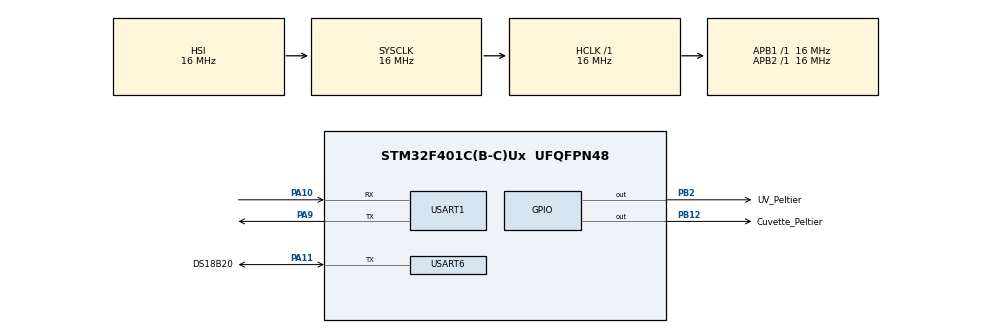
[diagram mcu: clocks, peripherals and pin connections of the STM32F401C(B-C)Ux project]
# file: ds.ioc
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Dma.Request0=USART6_RX
Dma.Request1=USART6_TX
Dma.Request2=USART1_RX
Dma.Request3=USART1_TX
Dma.USART1_RX.2.Direction=DMA_PERIPH_TO_MEMORY
Dma.USART1_RX.2.FIFOMode=DMA_FIFOMODE_DISABLE
Dma.USART1_RX.2.Instance=DMA2_Stream2
Dma.USART1_RX.2.MemDataAlignment=DMA_MDATAALIGN_BYTE
Dma.USART1_RX.2.MemInc=DMA_MINC_ENABLE
Dma.USART1_RX.2.Mode=DMA_NORMAL
Dma.USART1_RX.2.PeriphDataAlignment=DMA_PDATAALIGN_BYTE
Dma.USART1_RX.2.PeriphInc=DMA_PINC_DISABLE
Dma.USART1_RX.2.Priority=DMA_PRIORITY_LOW
Dma.USART1_TX.3.Direction=DMA_MEMORY_TO_PERIPH
Dma.USART1_TX.3.FIFOMode=DMA_FIFOMODE_DISABLE
Dma.USART1_TX.3.Instance=DMA2_Stream7
Dma.USART1_TX.3.MemDataAlignment=DMA_MDATAALIGN_BYTE
Dma.USART1_TX.3.MemInc=DMA_MINC_ENABLE
Dma.USART1_TX.3.Mode=DMA_NORMAL
Dma.USART1_TX.3.PeriphDataAlignment=DMA_PDATAALIGN_BYTE
Dma.USART1_TX.3.PeriphInc=DMA_PINC_DISABLE
Dma.USART1_TX.3.Priority=DMA_PRIORITY_LOW
Dma.USART6_RX.0.Direction=DMA_PERIPH_TO_MEMORY
Dma.USART6_RX.0.FIFOMode=DMA_FIFOMODE_DISABLE
Dma.USART6_RX.0.Instance=DMA2_Stream1
Dma.USART6_RX.0.MemDataAlignment=DMA_MDATAALIGN_BYTE
Dma.USART6_RX.0.MemInc=DMA_MINC_ENABLE
Dma.USART6_RX.0.Mode=DMA_NORMAL
Dma.USART6_RX.0.PeriphDataAlignment=DMA_PDATAALIGN_BYTE
Dma.USART6_RX.0.PeriphInc=DMA_PINC_DISABLE
Dma.USART6_RX.0.Priority=DMA_PRIORITY_LOW
Dma.USART6_TX.1.Direction=DMA_MEMORY_TO_PERIPH
Dma.USART6_TX.1.FIFOMode=DMA_FIFOMODE_DISABLE
Dma.USART6_TX.1.Instance=DMA2_Stream6
Dma.USART6_TX.1.MemDataAlignment=DMA_MDATAALIGN_BYTE
Dma.USART6_TX.1.MemInc=DMA_MINC_ENABLE
Dma.USART6_TX.1.Mode=DMA_NORMAL
Dma.USART6_TX.1.PeriphDataAlignment=DMA_PDATAALIGN_BYTE
Dma.USART6_TX.1.PeriphInc=DMA_PINC_DISABLE
Dma.USART6_TX.1.Priority=DMA_PRIORITY_LOW
Mcu.Family=STM32F4
Mcu.Name=STM32F401C(B-C)Ux
Mcu.Package=UFQFPN48
NVIC.DMA2_Stream1_IRQn=true\:0\:0\:false\:false\:true\:false\:true\:true
NVIC.DMA2_Stream2_IRQn=true\:0\:0\:false\:false\:true\:false\:true\:true
NVIC.DMA2_Stream6_IRQn=true\:0\:0\:false\:false\:true\:false\:true\:true
NVIC.DMA2_Stream7_IRQn=true\:0\:0\:false\:false\:true\:false\:true\:true
NVIC.PriorityGroup=NVIC_PRIORITYGROUP_4
NVIC.TIM2_IRQn=true\:0\:0\:false\:false\:true\:true\:true\:true
NVIC.USART1_IRQn=true\:0\:0\:false\:false\:true\:true\:true\:true
NVIC.USART6_IRQn=true\:0\:0\:false\:false\:true\:true\:true\:true
PA10.Mode=Asynchronous
PA10.Signal=USART1_RX
PA11.GPIO_Label=DS18B20
PA11.Mode=Half_duplex(single_wire_mode)
PA11.Signal=USART6_TX
PA9.Mode=Asynchronous
PA9.Signal=USART1_TX
PB12.GPIO_Label=Cuvette_Peltier
PB12.Signal=GPIO_Output
PB2.GPIO_Label=UV_Peltier
PB2.Signal=GPIO_Output
ProjectManager.HeapSize=0x200
ProjectManager.StackSize=0x400
ProjectManager.TargetToolchain=STM32CubeIDE
RCC.AHBFreq_Value=16000000
RCC.APB1Freq_Value=16000000
RCC.APB2Freq_Value=16000000
RCC.CortexFreq_Value=16000000
RCC.HSE_VALUE=25000000
RCC.HSI_VALUE=16000000
RCC.LSE_VALUE=32768
RCC.SYSCLKFreq_VALUE=16000000
RCC.VCOOutputFreq_Value=192000000
TIM2.Period=0
TIM2.Prescaler=15999
USART1.VirtualMode=VM_ASYNC
USART6.BaudRate=9600
USART6.VirtualMode=VM_ASYNC
VP_TIM2_VS_ClockSourceINT.Mode=Internal
board=custom

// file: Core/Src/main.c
/* USER CODE BEGIN Header */
/**
  ******************************************************************************
  * @file           : main.c
  * @brief          : Main program body
  ******************************************************************************
  * @attention
  *
  * Copyright (c) 2026 STMicroelectronics.
  * All rights reserved.
  *
  * This software is licensed under terms that can be found in the LICENSE file
  * in the root directory of this software component.
  * If no LICENSE file comes with this software, it is provided AS-IS.
  *
  ******************************************************************************
  */
/* USER CODE END Header */
#include "main.h"

/* USER CODE BEGIN Includes */
#include "ds18b20.h"

#include <stdio.h>
#include <string.h>
#include <stdbool.h>
#include <stdlib.h>
/* USER CODE END Includes */

/* USER CODE BEGIN PTD */

// Control Stages
typedef enum {
    STAGE_1_FAST_HEAT = 1,    // 100% power to 32°C
    STAGE_2_CONTROLLED,       // 60% power to setpoint-2
    STAGE_3_PID,              // Full PID control
    STAGE_ERROR               // Error state
} ControlStage_TypeDef;

// PID Structure
typedef struct {
    float kp;
    float ki;
    float kd;
    float dt;                 // Sample time in seconds
    float setpoint;
    float integral;
    float prev_error;
    float output_min;
    float output_max;
    float output;
} PID_TypeDef;

/* USER CODE END PTD */

/* USER CODE BEGIN PD */
// Peltier Control Pins
#define Cuvette_Peltier_Pin GPIO_PIN_12
#define Cuvette_Peltier_GPIO_Port GPIOB

// PID Constants (Start with conservative values and tune based on response)
#define KP 30.0f    // Start lower to avoid overshoot
#define KI 1.0f     // Conservative integral
#define KD 5.0f     // Conservative derivative (reduced from 8.0)

// Control Parameters
#define CONTROL_INTERVAL_MS 800U      // DS18B20 read interval
#define STAGE_1_TARGET 32.0f         // Temperature to switch from Stage 1 to 2
#define SENSOR_MAX_ATTEMPTS 5U        // Retry attempts for sensor detection
#define STABILITY_SAMPLES 8          // Number of samples for stability check (6.4 seconds)
#define STABILITY_THRESHOLD 0.1f     // °C range for stability

// Software PWM Parameters
#define PWM_PERIOD_MS 100
#define PWM_PERIOD_STEPS 100U    // 100 x 1ms = 100ms = 10Hz
                                // 1% duty-cycle resolution

// UART Buffer Size
#define UART_BUFFER_SIZE 128
/* USER CODE END PD */

TIM_HandleTypeDef htim2;

UART_HandleTypeDef huart1;
UART_HandleTypeDef huart6;
DMA_HandleTypeDef hdma_usart1_rx;
DMA_HandleTypeDef hdma_usart1_tx;
DMA_HandleTypeDef hdma_usart6_rx;
DMA_HandleTypeDef hdma_usart6_tx;

/* USER CODE BEGIN PV */
// Global temperature variables
extern uint8_t temp_sens_pres;     // 0: sensor not found, 1: sensor found
extern uint8_t temp_out_of_range;  // 1: temp > 40°C, 0: temp <= 40°C
extern float Temperature;          // Current temperature from DS18B20

// Control variables
static ControlStage_TypeDef current_stage = STAGE_1_FAST_HEAT;
static PID_TypeDef pid_controller;
static float target_temperature = 37.0f;
static float stage_2_target = 0.0f;
static uint32_t control_timer = 0;
static uint32_t start_time_ms = 0;
static uint32_t elapsed_time_ms = 0;

// Stage tracking
static bool stage_1_reached = false;
static bool stage_2_reached = false;

// Stability detection
static float temp_history[STABILITY_SAMPLES];
static uint8_t history_index = 0;
static uint8_t history_count = 0;

// Sensor status

static bool sensor_ok = false;
static bool sensor_was_lost = false;

// UART buffer
static char uart_buffer[UART_BUFFER_SIZE];

// PWM variables (used in interrupt - must be volatile)
static volatile uint8_t peltier_power = 0;    // 0-100%
static volatile uint8_t pwm_counter = 0;

volatile uint32_t current_time = 0;
volatile uint32_t debug_counter = 0;
volatile uint32_t counter_value = 0;
/* USER CODE END PV */

void SystemClock_Config(void);
static void MX_GPIO_Init(void);
static void MX_DMA_Init(void);
static void MX_USART6_UART_Init(void);
static void MX_USART1_UART_Init(void);
static void MX_TIM2_Init(void);
/* USER CODE BEGIN PFP */
// Function prototypes
void Peltier_SetPower(uint8_t power_percent);
void Peltier_Off(void);
bool Peltier_CheckSensor(void);
void PID_Init(PID_TypeDef *pid, float kp, float ki, float kd, float dt, float min, float max);
float PID_Compute(PID_TypeDef *pid, float input, float setpoint);
ControlStage_TypeDef Peltier_UpdateControl(float set_temp);
bool IsTemperatureStable(void);
void UART_SendStatus(void);
void UART_Init(void);
void UART_SendString(char *str);

void Test_Timer_Interrupt(void);

void Peltier_PWM_Update_SysTick(void);
/* USER CODE END PFP */

/* USER CODE BEGIN 0 */

// Set Peltier power (0-100%)
// This just sets the variable - TIM10 interrupt handles the actual PWM
void Peltier_SetPower(uint8_t power_percent) {
    if (power_percent > 100) power_percent = 100;
    peltier_power = power_percent;
}

// Check if sensor is present with retries (for initial startup only)
bool Peltier_CheckSensor(void) {
    uint8_t attempts = 0;

    while (attempts < SENSOR_MAX_ATTEMPTS) {
        DS18B20_GetTemperature();
        HAL_Delay(2000);  // 2 second delay between attempts

        if (temp_sens_pres == 1) {
            sensor_ok = true;
            return true;
        }
        attempts++;
    }

    sensor_ok = false;
    Peltier_Off();
    // DO NOT change current_stage - preserve it
    return false;
}

// Initialize PID controller
void PID_Init(PID_TypeDef *pid, float kp, float ki, float kd, float dt, float min, float max) {
    pid->kp = kp;
    pid->ki = ki;
    pid->kd = kd;
    pid->dt = dt;
    pid->setpoint = 0.0f;
    pid->integral = 0.0f;
    pid->prev_error = 0.0f;
    pid->output_min = min;
    pid->output_max = max;
    pid->output = 0.0f;
}

// Compute PID output with proper dt
float PID_Compute(PID_TypeDef *pid, float input, float setpoint) {
    pid->setpoint = setpoint;
    float error = setpoint - input;

    // Proportional term
    float proportional = pid->kp * error;

    // Integral term with anti-windup
    pid->integral += error * pid->dt;

    // Clamp integral to prevent windup
    float integral_limit = 100.0f / pid->ki;
    if (pid->integral > integral_limit) pid->integral = integral_limit;
    if (pid->integral < -integral_limit) pid->integral = -integral_limit;

    float integral = pid->ki * pid->integral;

    // Derivative term with dt
    float derivative = pid->kd * (error - pid->prev_error) / pid->dt;
    pid->prev_error = error;

    // Calculate output
    float output = proportional + integral + derivative;

    // Clamp output
    if (output > pid->output_max) output = pid->output_max;
    if (output < pid->output_min) output = pid->output_min;

    pid->output = output;
    return output;
}

// Check if temperature is stable (within threshold over sample period)
bool IsTemperatureStable(void) {
    if (history_count < STABILITY_SAMPLES) {
        return false;
    }

    float min_temp = temp_history[0];
    float max_temp = temp_history[0];

    for (uint8_t i = 1; i < STABILITY_SAMPLES; i++) {
        if (temp_history[i] < min_temp) min_temp = temp_history[i];
        if (temp_history[i] > max_temp) max_temp = temp_history[i];
    }

    return ((max_temp - min_temp) <= STABILITY_THRESHOLD);
}

ControlStage_TypeDef Peltier_UpdateControl(float set_temp)
{
    /* ============================================================
     * SENSOR CHECK
     * ============================================================ */

    if (temp_sens_pres == 0)
    {
        // Sensor lost -> immediately turn Peltier OFF
        Peltier_Off();

        sensor_ok = false;

        // IMPORTANT:
        // Do NOT change current_stage.
        // The same stage will be resumed when sensor returns.
        return current_stage;
    }

    /* ============================================================
     * SENSOR IS PRESENT
     * ============================================================ */

    sensor_ok = true;

    /* ============================================================
     * SAFETY TEMPERATURE CHECK
     * ============================================================ */

    if (temp_out_of_range || Temperature > 40.0f)
    {
        Peltier_Off();

        current_stage = STAGE_ERROR;

        return STAGE_ERROR;
    }

    /* ============================================================
     * UPDATE TARGETS
     * ============================================================ */

    target_temperature = set_temp;

    stage_2_target = set_temp - 2.0f;

    /* ============================================================
     * UPDATE TEMPERATURE HISTORY
     * ============================================================ */

    temp_history[history_index] = Temperature;

    history_index =
        (history_index + 1) % STABILITY_SAMPLES;

    if (history_count < STABILITY_SAMPLES)
    {
        history_count++;
    }

    /* ============================================================
     * STAGE CONTROL
     * ============================================================ */

    switch (current_stage)
    {
        /* ========================================================
         * STAGE 1
         * ======================================================== */

        case STAGE_1_FAST_HEAT:

            /*
             * Sensor is present.
             *
             * If sensor was previously lost while in Stage 1,
             * this automatically restores 100% power.
             */

            Peltier_SetPower(100);

            /* Check if 32°C has been reached */
            if (Temperature >= STAGE_1_TARGET)
            {
                stage_1_reached = true;

                current_stage = STAGE_2_CONTROLLED;
            }

            break;

        /* ========================================================
         * STAGE 2
         * ======================================================== */

        case STAGE_2_CONTROLLED:

            /*
             * Sensor recovered while in Stage 2:
             *
             * Temperature < setpoint-2 -> 60%
             *
             * Temperature >= setpoint-2 -> 40%
             */

            if (Temperature < stage_2_target)
            {
                Peltier_SetPower(60);
            }
            else
            {
                stage_2_reached = true;

                /*
                 * Reduced power while waiting for stabilization
                 */
                Peltier_SetPower(40);

                /*
                 * Once stable, move to PID
                 */
                if (IsTemperatureStable())
                {
                    current_stage = STAGE_3_PID;

                    /*
                     * Clear PID integral
                     */
                    pid_controller.integral = 0.0f;

                    /*
                     * IMPORTANT:
                     * Set previous error to the CURRENT error.
                     *
                     * This prevents a large derivative spike
                     * immediately after sensor recovery.
                     */
                    pid_controller.prev_error =
                        target_temperature - Temperature;
                }
            }

            break;

        /* ========================================================
         * STAGE 3 - PID
         * ======================================================== */

        case STAGE_3_PID:
        {
            float pid_output;

            /*
             * Calculate PID output using the newly recovered
             * temperature.
             */
            pid_output =
                PID_Compute(
                    &pid_controller,
                    Temperature,
                    target_temperature
                );

            /* Limit output to 0-100% */
            if (pid_output > 100.0f)
            {
                pid_output = 100.0f;
            }

            if (pid_output < 0.0f)
            {
                pid_output = 0.0f;
            }

            /*
             * This restores the actual PWM power.
             *
             * TIM10 is already running, so we only need to
             * update peltier_power here.
             */
            Peltier_SetPower((uint8_t)pid_output);

            /* Safety check */
            if (temp_out_of_range || Temperature > 40.0f)
            {
                Peltier_Off();

                current_stage = STAGE_ERROR;
            }

            break;
        }

        /* ========================================================
         * ERROR STATE
         * ======================================================== */

        case STAGE_ERROR:

            /*
             * Permanent safety/error condition.
             * Peltier remains OFF.
             */
            Peltier_Off();

            break;

        /* ========================================================
         * INVALID STAGE
         * ======================================================== */

        default:

            Peltier_Off();

            current_stage = STAGE_ERROR;

            break;
    }

    return current_stage;
}

// UART Functions
void UART_Init(void) {
    char init_msg[] = "Cuvette Temperature Control System Started\r\n";
    UART_SendString(init_msg);
}

void UART_SendString(char *str) {
    HAL_UART_Transmit(&huart1, (uint8_t*)str, strlen(str), HAL_MAX_DELAY);
}

void UART_SendStatus(void) {
    float error = target_temperature - Temperature;
    float actual_time_sec = elapsed_time_ms / 1000.0f;

    // Format: TIME(sec),STAGE,TEMP,SETPOINT,POWER,ERROR
    snprintf(uart_buffer, UART_BUFFER_SIZE, "%.1f,%d,%.2f,%.2f,%d,%.2f\r\n",
             (double)actual_time_sec,
             current_stage,
             (double)Temperature,
             (double)target_temperature,
             peltier_power,
             (double)error);

    UART_SendString(uart_buffer);
}

void Peltier_Off(void)
{
    /*
     * Immediately disable software PWM
     */
    peltier_power = 0;

    /*
     * Immediately force physical output LOW
     */
    HAL_GPIO_WritePin(
        Cuvette_Peltier_GPIO_Port,
        Cuvette_Peltier_Pin,
        GPIO_PIN_RESET
    );
}

void Peltier_PWM_Update_SysTick(void)
{
    static uint32_t last_pwm_time = 0;
    static uint8_t pwm_count = 0;

    uint32_t current_ms = HAL_GetTick();

    // Update every 1ms using SysTick
    if (current_ms - last_pwm_time >= 1)
    {
        last_pwm_time = current_ms;

        pwm_count++;
        if (pwm_count >= PWM_PERIOD_STEPS)
        {
            pwm_count = 0;
        }

        // Generate PWM on PB12
        if (pwm_count < peltier_power)
        {
            HAL_GPIO_WritePin(Cuvette_Peltier_GPIO_Port, Cuvette_Peltier_Pin, GPIO_PIN_SET);
        }
        else
        {
            HAL_GPIO_WritePin(Cuvette_Peltier_GPIO_Port, Cuvette_Peltier_Pin, GPIO_PIN_RESET);
        }
    }
}
/* USER CODE END 0 */

int main(void)
{

  /* MCU Configuration--------------------------------------------------------*/

  /* Reset of all peripherals, Initializes the Flash interface and the Systick. */
  HAL_Init();

  /* Configure the system clock */
  SystemClock_Config();

  /* Initialize all configured peripherals */
  MX_GPIO_Init();
  MX_DMA_Init();
  MX_USART6_UART_Init();
  MX_USART1_UART_Init();
  MX_TIM2_Init();
  /* USER CODE BEGIN 2 */

//  if (HAL_TIM_Base_Start_IT(&htim2) != HAL_OK)
//  {
//      Error_Handler();
//  }
//
//
//  // Check if timer is running
//  uint32_t counter_value = __HAL_TIM_GET_COUNTER(&htim2);
//  char debug_msg[64];
//  snprintf(debug_msg, sizeof(debug_msg), "TIM2 Counter: %lu\r\n", counter_value);
//  UART_SendString(debug_msg);

  // Initialize UART
  UART_Init();

  // Start TIM10 interrupt for PWM generation on PB12
  // PB12 is configured as push-pull output in MX_GPIO_Init()
  // TIM10 interrupt will toggle PB12 at 10Hz with 1% resolution
//  HAL_TIM_Base_Start_IT(&htim10);

  // Initialize PID controller with 1 second sampling time
  PID_Init(&pid_controller, KP, KI, KD, 1.0f, 0.0f, 100.0f);

  // Check if sensor is present
  if (!Peltier_CheckSensor()) {
      UART_SendString("Sensor not found. Peltier OFF. Waiting for sensor...\r\n");
      Peltier_Off();
      // IMPORTANT: Do NOT enter STAGE_ERROR.
      // Keep the initial stage.
      current_stage = STAGE_1_FAST_HEAT;
  } else {
      UART_SendString("Sensor found. Starting control loop.\r\n");
  }

  // Set target temperature (you can change this value)
  target_temperature = 37.0f;
  UART_SendString("Target temperature set to 37.0°C\r\n");

  // Reset control state
  current_stage = STAGE_1_FAST_HEAT;
  stage_1_reached = false;
  stage_2_reached = false;
  start_time_ms = HAL_GetTick();
  elapsed_time_ms = 0;
  control_timer = HAL_GetTick();

  // Send CSV header
  UART_SendString("TIME(sec),STAGE,TEMP,SETPOINT,POWER,ERROR\r\n");

//  Test_Timer_Interrupt();

  /* USER CODE END 2 */

  /* Infinite loop */
  /* USER CODE BEGIN WHILE */
  while (1)
  {

//	    current_time = HAL_GetTick();
//
////	    uint32_t current_time = HAL_GetTick();
//
//      if (current_time - control_timer >= CONTROL_INTERVAL_MS)
//      {
//          control_timer = current_time;
//
//          elapsed_time_ms =
//              current_time - start_time_ms;
//
//          /*
//           * Read sensor ONCE
//           */
//          DS18B20_GetTemperature();
//
//
//          /* =========================================================
//           * SENSOR VALUE BASED SAFETY
//           *
//           * Temperature <= 5°C  -> SENSOR LOST
//           * Temperature > 5°C   -> SENSOR FOUND
//           * ========================================================= */
//
//          if (Temperature <= 5.0f)
//          {
//              /* =====================================================
//               * SENSOR LOST
//               * ===================================================== */
//
//              temp_sens_pres = 0;
//
//              /* Immediately force power to ZERO */
//              peltier_power = 0;
//
//              /* Immediately force PB12 LOW */
//              HAL_GPIO_WritePin(
//                  Cuvette_Peltier_GPIO_Port,
//                  Cuvette_Peltier_Pin,
//                  GPIO_PIN_RESET
//              );
//
//              sensor_ok = false;
//
//              if (sensor_was_lost == false)
//              {
//                  UART_SendString(
//                      "SENSOR LOST -> POWER = 0\r\n"
//                  );
//
//                  sensor_was_lost = true;
//              }
//          }
//          else
//          {
//              /* =====================================================
//               * SENSOR FOUND
//               * ===================================================== */
//
//              temp_sens_pres = 1;
//              sensor_ok = true;
//
//              if (sensor_was_lost == true)
//              {
//                  sensor_was_lost = false;
//
//                  UART_SendString(
//                      "SENSOR FOUND -> RESTORING POWER\r\n"
//                  );
//              }
//
//              /* =====================================================
//               * RESTORE PREVIOUS CONTROL STAGE
//               * ===================================================== */
//
//              if (current_stage != STAGE_ERROR)
//              {
//                  Peltier_UpdateControl(target_temperature);
//              }
//          }
//
//          UART_SendStatus();
//
//          if (debug_counter > 0)
//          {
//              char dbg_msg[64];
//              snprintf(dbg_msg, sizeof(dbg_msg), "Debug Counter: %lu\r\n", debug_counter);
//              UART_SendString(dbg_msg);
//              debug_counter = 0;  // Reset to see if it increments again
//          }
//      }
//
//
//      // Small delay to prevent busy loop
//      HAL_Delay(1);

	    // Update PWM using SysTick (1ms resolution)
	    Peltier_PWM_Update_SysTick();

	    current_time = HAL_GetTick();

	    if (current_time - control_timer >= CONTROL_INTERVAL_MS)
	    {
	        control_timer = current_time;
	        elapsed_time_ms = current_time - start_time_ms;

	        // Read sensor ONCE
	        DS18B20_GetTemperature();

	        /* SENSOR VALUE BASED SAFETY */
	        if (Temperature <= 5.0f)
	        {
	            /* SENSOR LOST */
	            temp_sens_pres = 0;
	            peltier_power = 0;
	            HAL_GPIO_WritePin(Cuvette_Peltier_GPIO_Port, Cuvette_Peltier_Pin, GPIO_PIN_RESET);
	            sensor_ok = false;

	            if (sensor_was_lost == false)
	            {
	                UART_SendString("SENSOR LOST -> POWER = 0\r\n");
	                sensor_was_lost = true;
	            }
	        }
	        else
	        {
	            /* SENSOR FOUND */
	            temp_sens_pres = 1;
	            sensor_ok = true;

	            if (sensor_was_lost == true)
	            {
	                sensor_was_lost = false;
	                UART_SendString("SENSOR FOUND -> RESTORING POWER\r\n");
	            }

	            if (current_stage != STAGE_ERROR)
	            {
	                Peltier_UpdateControl(target_temperature);
	            }
	        }

	        UART_SendStatus();
	    }

	    // Small delay to prevent busy loop
	    HAL_Delay(1);

    /* USER CODE END WHILE */

  }
}

void SystemClock_Config(void)
{
  RCC_OscInitTypeDef RCC_OscInitStruct = {0};
  RCC_ClkInitTypeDef RCC_ClkInitStruct = {0};

  /** Configure the main internal regulator output voltage
  */
  __HAL_RCC_PWR_CLK_ENABLE();
  __HAL_PWR_VOLTAGESCALING_CONFIG(PWR_REGULATOR_VOLTAGE_SCALE2);

  /** Initializes the RCC Oscillators according to the specified parameters
  * in the RCC_OscInitTypeDef structure.
  */
  RCC_OscInitStruct.OscillatorType = RCC_OSCILLATORTYPE_HSI;
  RCC_OscInitStruct.HSIState = RCC_HSI_ON;
  RCC_OscInitStruct.HSICalibrationValue = RCC_HSICALIBRATION_DEFAULT;
  RCC_OscInitStruct.PLL.PLLState = RCC_PLL_NONE;
  if (HAL_RCC_OscConfig(&RCC_OscInitStruct) != HAL_OK)
  {
    Error_Handler();
  }

  /** Initializes the CPU, AHB and APB buses clocks
  */
  RCC_ClkInitStruct.ClockType = RCC_CLOCKTYPE_HCLK|RCC_CLOCKTYPE_SYSCLK
                              |RCC_CLOCKTYPE_PCLK1|RCC_CLOCKTYPE_PCLK2;
  RCC_ClkInitStruct.SYSCLKSource = RCC_SYSCLKSOURCE_HSI;
  RCC_ClkInitStruct.AHBCLKDivider = RCC_SYSCLK_DIV1;
  RCC_ClkInitStruct.APB1CLKDivider = RCC_HCLK_DIV1;
  RCC_ClkInitStruct.APB2CLKDivider = RCC_HCLK_DIV1;

  if (HAL_RCC_ClockConfig(&RCC_ClkInitStruct, FLASH_LATENCY_0) != HAL_OK)
  {
    Error_Handler();
  }
}

static void MX_TIM2_Init(void)
{

  TIM_ClockConfigTypeDef sClockSourceConfig = {0};
//  TIM_MasterConfigTypeDef sMasterConfig = {0};

  htim2.Instance = TIM2;
  htim2.Init.Prescaler = 15999;
  htim2.Init.CounterMode = TIM_COUNTERMODE_UP;
  htim2.Init.Period = 0;
  htim2.Init.ClockDivision = TIM_CLOCKDIVISION_DIV1;
  htim2.Init.AutoReloadPreload = TIM_AUTORELOAD_PRELOAD_DISABLE;
  if (HAL_TIM_Base_Init(&htim2) != HAL_OK)
  {
    Error_Handler();
  }
  sClockSourceConfig.ClockSource = TIM_CLOCKSOURCE_INTERNAL;
  if (HAL_TIM_ConfigClockSource(&htim2, &sClockSourceConfig) != HAL_OK)
  {
    Error_Handler();
  }
//  sMasterConfig.MasterOutputTrigger = TIM_TRGO_RESET;
//  sMasterConfig.MasterSlaveMode = TIM_MASTERSLAVEMODE_DISABLE;
//  if (HAL_TIMEx_MasterConfigSynchronization(&htim2, &sMasterConfig) != HAL_OK)
//  {
//    Error_Handler();
//  }
  /* USER CODE BEGIN TIM2_Init 2 */

  HAL_NVIC_SetPriority(TIM2_IRQn, 0, 0);
  HAL_NVIC_EnableIRQ(TIM2_IRQn);

  /* USER CODE END TIM2_Init 2 */

}

static void MX_USART1_UART_Init(void)
{

  huart1.Instance = USART1;
  huart1.Init.BaudRate = 115200;
  huart1.Init.WordLength = UART_WORDLENGTH_8B;
  huart1.Init.StopBits = UART_STOPBITS_1;
  huart1.Init.Parity = UART_PARITY_NONE;
  huart1.Init.Mode = UART_MODE_TX_RX;
  huart1.Init.HwFlowCtl = UART_HWCONTROL_NONE;
  huart1.Init.OverSampling = UART_OVERSAMPLING_16;
  if (HAL_UART_Init(&huart1) != HAL_OK)
  {
    Error_Handler();
  }

}

static void MX_USART6_UART_Init(void)
{

  huart6.Instance = USART6;
  huart6.Init.BaudRate = 9600;
  huart6.Init.WordLength = UART_WORDLENGTH_8B;
  huart6.Init.StopBits = UART_STOPBITS_1;
  huart6.Init.Parity = UART_PARITY_NONE;
  huart6.Init.Mode = UART_MODE_TX_RX;
  huart6.Init.HwFlowCtl = UART_HWCONTROL_NONE;
  huart6.Init.OverSampling = UART_OVERSAMPLING_16;
  if (HAL_HalfDuplex_Init(&huart6) != HAL_OK)
  {
    Error_Handler();
  }

}

static void MX_DMA_Init(void)
{

  /* DMA controller clock enable */
  __HAL_RCC_DMA2_CLK_ENABLE();

  /* DMA interrupt init */
  /* DMA2_Stream1_IRQn interrupt configuration */
  HAL_NVIC_SetPriority(DMA2_Stream1_IRQn, 0, 0);
  HAL_NVIC_EnableIRQ(DMA2_Stream1_IRQn);
  /* DMA2_Stream2_IRQn interrupt configuration */
  HAL_NVIC_SetPriority(DMA2_Stream2_IRQn, 0, 0);
  HAL_NVIC_EnableIRQ(DMA2_Stream2_IRQn);
  /* DMA2_Stream6_IRQn interrupt configuration */
  HAL_NVIC_SetPriority(DMA2_Stream6_IRQn, 0, 0);
  HAL_NVIC_EnableIRQ(DMA2_Stream6_IRQn);
  /* DMA2_Stream7_IRQn interrupt configuration */
  HAL_NVIC_SetPriority(DMA2_Stream7_IRQn, 0, 0);
  HAL_NVIC_EnableIRQ(DMA2_Stream7_IRQn);

}

static void MX_GPIO_Init(void)
{
  GPIO_InitTypeDef GPIO_InitStruct = {0};

  /* GPIO Ports Clock Enable */
  __HAL_RCC_GPIOB_CLK_ENABLE();
  __HAL_RCC_GPIOA_CLK_ENABLE();

  /*Configure GPIO pin Output Level */
  HAL_GPIO_WritePin(GPIOB, UV_Peltier_Pin|Cuvette_Peltier_Pin, GPIO_PIN_RESET);

  /*Configure GPIO pins : UV_Peltier_Pin Cuvette_Peltier_Pin */
  GPIO_InitStruct.Pin = UV_Peltier_Pin|Cuvette_Peltier_Pin;
  GPIO_InitStruct.Mode = GPIO_MODE_OUTPUT_PP;
  GPIO_InitStruct.Pull = GPIO_NOPULL;
  GPIO_InitStruct.Speed = GPIO_SPEED_FREQ_LOW;
  HAL_GPIO_Init(GPIOB, &GPIO_InitStruct);

}

/* USER CODE BEGIN 4 */

/**
  * @brief TIM10 Period Elapsed Callback
  * This runs every 1ms and generates PWM on PB12
  *
  * PWM Period = 100ms (10Hz)
  * Resolution = 1% (100 steps)
  */
//void HAL_TIM_PeriodElapsedCallback(TIM_HandleTypeDef *htim)
//{
//    if (htim->Instance == TIM10)
//    {
//        // Increment counter (0-99 for 100ms period)
//        pwm_counter++;
//        if (pwm_counter >= PWM_PERIOD_STEPS)
//        {
//            pwm_counter = 0;
//        }
//
//        // Generate PWM
//        // PB12 is HIGH for peltier_power ms out of 100ms
//        if (pwm_counter < peltier_power)
//        {
//            HAL_GPIO_WritePin(Cuvette_Peltier_GPIO_Port, Cuvette_Peltier_Pin, GPIO_PIN_SET);
//        }
//        else
//        {
//            HAL_GPIO_WritePin(Cuvette_Peltier_GPIO_Port, Cuvette_Peltier_Pin, GPIO_PIN_RESET);
//        }
//    }
//}

//void HAL_TIM_PeriodElapsedCallback(TIM_HandleTypeDef *htim)
//{
//    if (htim->Instance == TIM10)
//    {
//        debug_counter++;
//
//        pwm_counter++;
//
//        if (pwm_counter >= PWM_PERIOD_STEPS)
//        {
//            pwm_counter = 0;
//        }
//
//        if (pwm_counter < peltier_power)
//        {
//            HAL_GPIO_WritePin(
//                Cuvette_Peltier_GPIO_Port,
//                Cuvette_Peltier_Pin,
//                GPIO_PIN_SET
//            );
//        }
//        else
//        {
//            HAL_GPIO_WritePin(
//                Cuvette_Peltier_GPIO_Port,
//                Cuvette_Peltier_Pin,
//                GPIO_PIN_RESET
//            );
//        }
//    }
//}

void HAL_TIM_PeriodElapsedCallback(TIM_HandleTypeDef *htim)
{
    if (htim->Instance == TIM2)
    {
        debug_counter++;

        pwm_counter++;

        if (pwm_counter >= PWM_PERIOD_STEPS)
        {
            pwm_counter = 0;
        }

        if (pwm_counter < peltier_power)
        {
            HAL_GPIO_WritePin(
                Cuvette_Peltier_GPIO_Port,
                Cuvette_Peltier_Pin,
                GPIO_PIN_SET
            );
        }
        else
        {
            HAL_GPIO_WritePin(
                Cuvette_Peltier_GPIO_Port,
                Cuvette_Peltier_Pin,
                GPIO_PIN_RESET
            );
        }
    }
}

void Test_Timer_Interrupt(void)
{
    UART_SendString("Testing TIM2 interrupt...\r\n");

    // Set a known power level
    peltier_power = 50;

    // Start timer
    if (HAL_TIM_Base_Start_IT(&htim2) != HAL_OK)
    {
        UART_SendString("Failed to start TIM2!\r\n");
        return;
    }

    UART_SendString("TIM2 started. Wait 2 seconds...\r\n");
    HAL_Delay(2000);

    // Check if interrupt fired
    if (debug_counter > 0)
    {
        char msg[64];
        snprintf(msg, sizeof(msg), "Interrupt fired! Count: %lu\r\n", debug_counter);
        UART_SendString(msg);
    }
    else
    {
        UART_SendString("Interrupt NOT firing!\r\n");
        UART_SendString("Check: TIM2 NVIC enabled in CubeMX\r\n");
        UART_SendString("Check: TIM2_IRQHandler exists in stm32f4xx_it.c\r\n");
    }
}
/* USER CODE END 4 */

void Error_Handler(void)
{
  __disable_irq();
  while (1)
  {
  }
}
